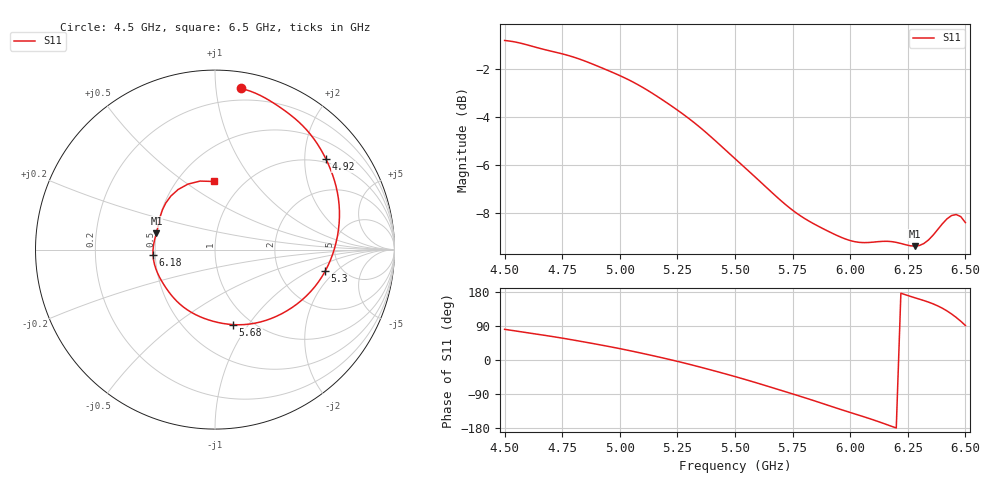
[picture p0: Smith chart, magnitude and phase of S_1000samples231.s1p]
! TOUCHSTONE file generated by CST MICROWAVE STUDIO
! Date and time: Thu Oct 27 11:12:22 2022
! Project name: L.cst
! Parameters = {Di=1.27; Epsilon_r=1.56; InnerDiameter=1.27; Length=2; Lf=10; Lg=60; OuterConductorThickness=0.2921; OuterDiameter=3.6; Wf=3; Wp=41.2; de=1.5; df=6.8; g=0.8; gx=2.49224; gy=2.78633; h=2.34; hf=1.524; px=12.0634; py=12.7145; w=9.7; wx=9.5712; wy=9.92815}
! Header version: 2018
! Port assignment regex: !\s*Touchstone port\s*([0-9]+)\s*=\s*(CST MWS port|CST DS port)\s*([0-9]+|Zmin|Zmax)\s*\(\"(.*)\"\)(\s*mode\s*([0-9]+))?.*
! Touchstone port assignment:
! Touchstone port 1 = CST MWS port 1 ("")
# GHz S DB R 50
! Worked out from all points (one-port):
!   101 points, 4.5 GHz to 6.5 GHz, reference 50 ohm
!   lowest |S11| = -9.4 dB at 6.28 GHz (marker M1), VSWR 2.03, Z = 25 + j5.17 ohm
!   |S11| at or under -10 dB: nowhere
!   S11 on the Smith chart (normalised r, x): 4.5 GHz: 0.11, +1.17; 4.92 GHz: 0.90, +2.51; 5.3 GHz: 3.72, -1.47; 5.68 GHz: 0.83, -0.85; 6.18 GHz: 0.49, -0.03; 6.5 GHz: 0.74, +0.65
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4.5  -0.82 80.9
4.62  -1.07 70.0
4.76  -1.41 56.7
4.84  -1.65 48.2
4.92  -1.96 39.3
5  -2.29 30.0
5.06  -2.57 22.5
5.12  -2.90 14.6
5.18  -3.26 6.4
5.26  -3.79 -5.1
5.3  -4.08 -11.1
5.4  -4.87 -27.0
5.5  -5.75 -43.7
5.6  -6.62 -61.5
5.68  -7.33 -76.4
5.76  -7.97 -91.4
5.88  -8.65 -114.8
6  -9.16 -138.5
6.1  -9.22 -158.0
6.18  -9.20 -175.1
6.26  -9.38 168.2
6.28  -9.39 164.4
6.34  -9.13 152.7
6.38  -8.70 142.8
6.42  -8.26 129.5
6.46  -8.07 112.4
6.48  -8.16 102.3
6.5  -8.41 91.1
